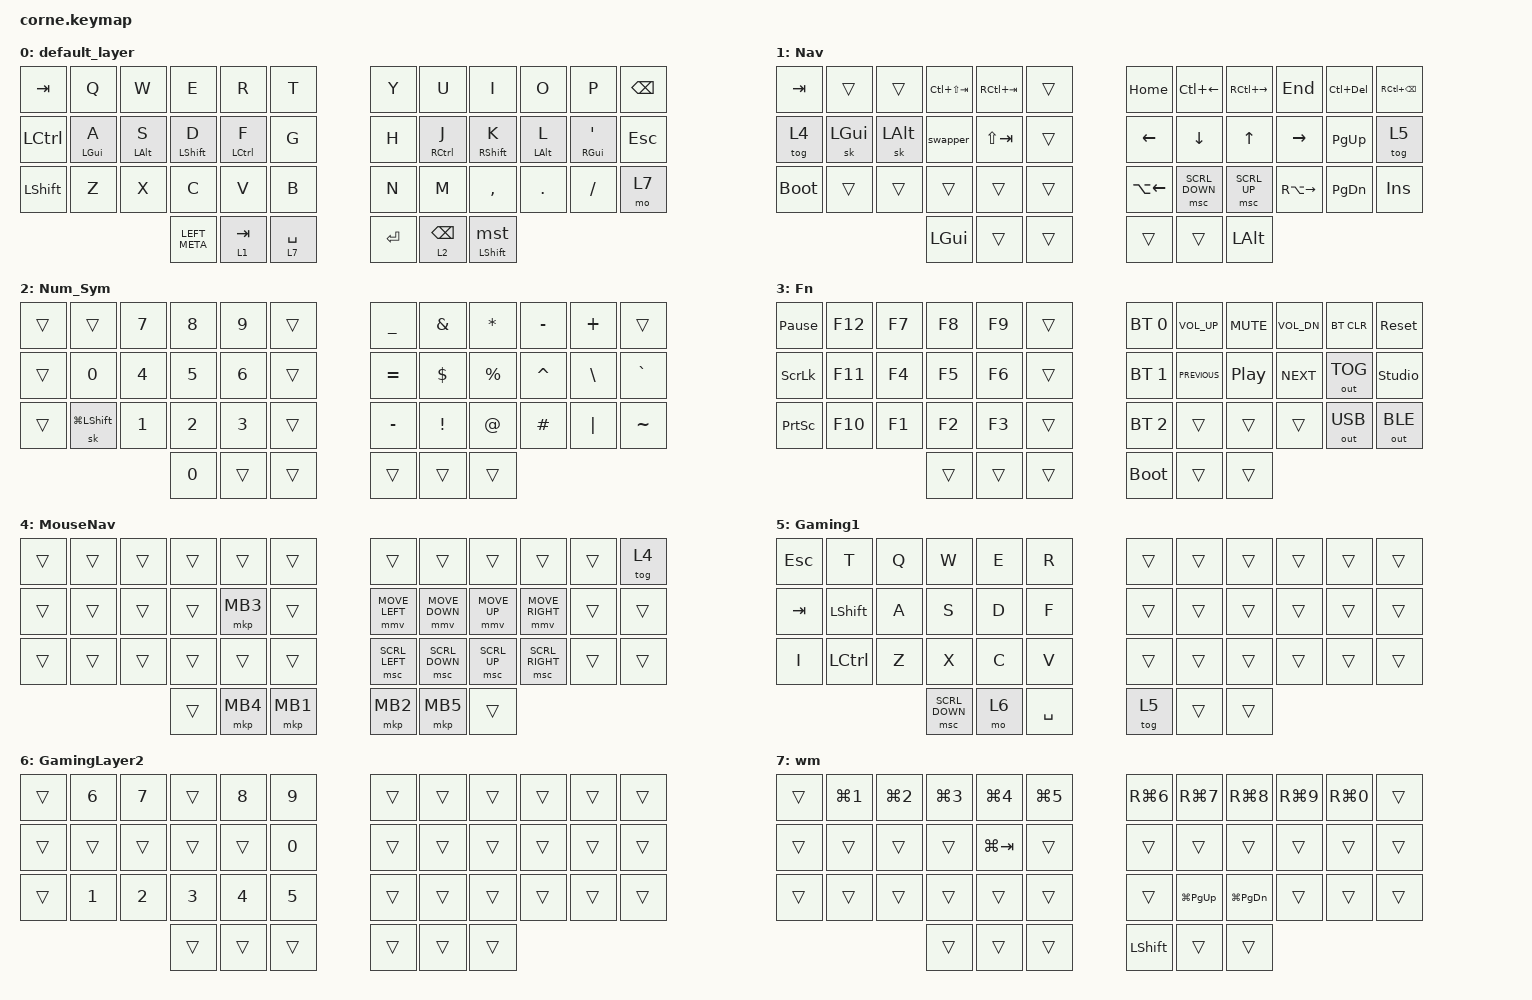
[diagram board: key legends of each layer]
/*
 * Copyright (c) 2020 The ZMK Contributors
 *
 * SPDX-License-Identifier: MIT
 */

#include <behaviors.dtsi>
#include <dt-bindings/zmk/bt.h>
#include <dt-bindings/zmk/keys.h>
#include <dt-bindings/zmk/outputs.h>
#include <dt-bindings/zmk/pointing.h>

&msc { trigger-period-ms = <8>; };

/ {
    combos {
        compatible = "zmk,combos";

        semcol {
            bindings = <&kp SEMI>;
            key-positions = <32 33>;
            timeout-ms = <50>;
            layers = <0>;
        };

        cpslck {
            bindings = <&kp CAPSLOCK>;
            key-positions = <24 35>;
            layers = <0>;
        };

        parentheses_left {
            bindings = <&kp LEFT_PARENTHESIS>;
            key-positions = <16 15>;
            layers = <0>;
        };

        parentheses_right {
            bindings = <&kp RIGHT_PARENTHESIS>;
            key-positions = <19 20>;
            layers = <0>;
        };

        bracket_left {
            bindings = <&kp LEFT_BRACKET>;
            key-positions = <3 4>;
            layers = <0>;
        };

        bracket_right {
            bindings = <&kp RIGHT_BRACKET>;
            key-positions = <8 7>;
            layers = <0>;
        };

        colon {
            bindings = <&kp COLON>;
            key-positions = <20 21>;
            layers = <0>;
        };

        grave {
            bindings = <&kp GRAVE>;
            key-positions = <15 14>;
            layers = <0>;
        };

        brace_left {
            bindings = <&kp LEFT_BRACE>;
            key-positions = <27 28>;
            layers = <0>;
        };

        brace_right {
            bindings = <&kp RIGHT_BRACE>;
            key-positions = <31 32>;
            layers = <0>;
        };

        less_than {
            bindings = <&kp LESS_THAN>;
            key-positions = <2 3>;
            layers = <0>;
        };

        bigger_than {
            bindings = <&kp GREATER_THAN>;
            key-positions = <8 9>;
            layers = <0>;
        };

        hyphen {
            bindings = <&kp MINUS>;
            key-positions = <28 31>;
            layers = <0>;
        };

        plus {
            bindings = <&kp PLUS>;
            key-positions = <4 7>;
            layers = <0>;
        };

        equal {
            bindings = <&kp EQUAL>;
            key-positions = <16 19>;
            layers = <0>;
        };

        Pipe {
            bindings = <&kp PIPE>;
            key-positions = <27 26>;
            layers = <0>;
        };

        astrsk {
            bindings = <&kp ASTERISK>;
            key-positions = <3 8>;
            layers = <0>;
        };

        dollar {
            bindings = <&kp DOLLAR>;
            key-positions = <15 20>;
            layers = <0>;
        };

        excl {
            bindings = <&kp EXCL>;
            key-positions = <27 32>;
            layers = <0>;
        };

        ampersand {
            bindings = <&kp AMPERSAND>;
            key-positions = <17 18>;
            layers = <0>;
        };

        underscore {
            bindings = <&kp UNDERSCORE>;
            key-positions = <29 30>;
            layers = <0>;
        };

        backslash {
            bindings = <&kp BACKSLASH>;
            key-positions = <21 22>;
            layers = <0>;
        };

        tilde {
            bindings = <&kp TILDE>;
            key-positions = <14 13>;
            layers = <0>;
        };
    };

    behaviors {
        mst: magic_shift_tap {
            compatible = "zmk,behavior-mod-morph";
            #binding-cells = <0>;
            bindings = <&sk LSHFT>, <&caps_word>;

            mods = <(MOD_LSFT)>;
        };

        magic_shift: magic_shift {
            compatible = "zmk,behavior-hold-tap";
            #binding-cells = <2>;
            bindings = <&kp>, <&mst>;

            flavor = "balanced";
            tapping-term-ms = <200>;
            quick-tap-ms = <175>;
        };

        hml: hml {
            compatible = "zmk,behavior-hold-tap";
            bindings = <&kp>, <&kp>;

            #binding-cells = <2>;
            tapping-term-ms = <280>;
            quick-tap-ms = <175>;
            flavor = "balanced";
            hold-trigger-on-release;
            hold-trigger-key-positions = <6 7 8 9 10 11 18 19 20 21 22 23 30 31 32 33 34 35 38 39 40 41 37 36>;
            require-prior-idle-ms = <150>;
        };

        hmr: hmr {
            compatible = "zmk,behavior-hold-tap";
            bindings = <&kp>, <&kp>;

            #binding-cells = <2>;
            tapping-term-ms = <280>;
            quick-tap-ms = <175>;
            hold-trigger-on-release;
            hold-trigger-key-positions = <0 1 2 3 4 5 12 13 14 15 16 17 24 25 26 27 28 29 36 37 38 39 40 41>;
            flavor = "balanced";
            require-prior-idle-ms = <150>;
        };

        swapper: swapper {
            compatible = "zmk,behavior-tri-state";
            #binding-cells = <0>;
            bindings = <&kt LALT>, <&kp TAB>, <&kt LALT>;

            ignored-key-positions = <15 16 18 19 20 21>;
        };

        lrt: lrt {
            compatible = "zmk,behavior-hold-tap";
            bindings = <&mo>, <&kp>;

            #binding-cells = <2>;
            tapping-term-ms = <150>;
            flavor = "tap-preferred";
        };
    };

    keymap {
        compatible = "zmk,keymap";

        default_layer {
            // -----------------------------------------------------------------------------------------
            // |  TAB |  Q  |  W  |  E  |  R  |  T  |   |  Y  |  U   |  I  |  O  |  P  | BSPC |
            // | CTRL |  A  |  S  |  D  |  F  |  G  |   |  H  |  J   |  K  |  L  |  ;  |  '   |
            // | SHFT |  Z  |  X  |  C  |  V  |  B  |   |  N  |  M   |  ,  |  .  |  /  | ESC  |
            //                    | GUI | LWR | SPC |   | ENT | RSE  | ALT |

            bindings = <
&kp TAB         &kp Q            &kp W            &kp E          &kp R         &kp T          &kp Y      &kp U            &kp I                      &kp O            &kp P          &kp BSPC
&kp LCTRL       &hml LEFT_GUI A  &hml LEFT_ALT S  &hml LSHFT D   &hml LCTRL F  &kp G          &kp H      &hmr RCTRL J     &hmr RSHFT K               &hmr LEFT_ALT L  &hmr RGUI SQT  &kp ESC
&kp LEFT_SHIFT  &kp Z            &kp X            &kp C          &kp V         &kp B          &kp N      &kp M            &kp COMMA                  &kp DOT          &kp FSLH       &mo 7
                                                  &kp LEFT_META  &lt 1 TAB     &lt 7 SPACE    &kp ENTER  &lt 2 BACKSPACE  &magic_shift LEFT_SHIFT 0
            >;
        };

        Nav {
            // -----------------------------------------------------------------------------------------
            // |  TAB |  1  |  2  |  3  |  4  |  5  |   |  6  |  7  |  8  |  9  |  0  | BSPC |
            // | BTCLR| BT1 | BT2 | BT3 | BT4 | BT5 |   | LFT | DWN |  UP | RGT |     |      |
            // | SHFT |     |     |     |     |     |   |     |     |     |     |     |      |
            //                    | GUI |     | SPC |   | ENT |     | ALT |

            bindings = <
&kp TAB      &trans        &trans        &kp LC(LS(TAB))  &kp RC(TAB)  &trans    &kp HOME            &kp LC(LEFT)    &kp RC(RIGHT)  &kp END              &kp LC(DELETE)  &kp RC(BSPC)
&tog 4       &sk LEFT_GUI  &sk LEFT_ALT  &swapper         &kp LS(TAB)  &trans    &kp LEFT            &kp DOWN        &kp UP         &kp RIGHT            &kp PAGE_UP     &tog 5
&bootloader  &trans        &trans        &trans           &trans       &trans    &kp LA(LEFT_ARROW)  &msc SCRL_DOWN  &msc SCRL_UP   &kp RA(RIGHT_ARROW)  &kp PAGE_DOWN   &kp INSERT
                                         &kp LGUI         &trans       &trans    &trans              &trans          &kp LEFT_ALT
            >;
        };

        Num_Sym {
            bindings = <
&trans  &trans              &kp N7        &kp N8        &kp N9        &trans    &kp UNDERSCORE  &kp AMPS  &kp STAR   &kp MINUS  &kp PLUS       &trans
&trans  &kp N0              &kp NUMBER_4  &kp N5        &kp NUMBER_6  &trans    &kp EQUAL       &kp DLLR  &kp PRCNT  &kp CARET  &kp BACKSLASH  &kp GRAVE
&trans  &sk LG(LEFT_SHIFT)  &kp NUMBER_1  &kp NUMBER_2  &kp NUMBER_3  &trans    &kp MINUS       &kp EXCL  &kp AT     &kp HASH   &kp PIPE       &kp TILDE
                                          &kp N0        &trans        &trans    &trans          &trans    &trans
            >;
        };

        Fn {
            bindings = <
&kp PAUSE_BREAK  &kp F12  &kp F7  &kp F8  &kp F9  &trans    &bt BT_SEL 0  &kp C_VOLUME_UP  &kp C_MUTE        &kp C_VOL_DN  &bt BT_CLR    &sys_reset
&kp SCROLLLOCK   &kp F11  &kp F4  &kp F5  &kp F6  &trans    &bt BT_SEL 1  &kp C_PREVIOUS   &kp C_PLAY_PAUSE  &kp C_NEXT    &out OUT_TOG  &studio_unlock
&kp PSCRN        &kp F10  &kp F1  &kp F2  &kp F3  &trans    &bt BT_SEL 2  &trans           &trans            &trans        &out OUT_USB  &out OUT_BLE
                                  &trans  &trans  &trans    &bootloader   &trans           &trans
            >;
        };

        MouseNav {
            bindings = <
&trans  &trans  &trans  &trans  &trans    &trans      &trans          &trans          &trans        &trans           &trans  &tog 4
&trans  &trans  &trans  &trans  &mkp MB3  &trans      &mmv MOVE_LEFT  &mmv MOVE_DOWN  &mmv MOVE_UP  &mmv MOVE_RIGHT  &trans  &trans
&trans  &trans  &trans  &trans  &trans    &trans      &msc SCRL_LEFT  &msc SCRL_DOWN  &msc SCRL_UP  &msc SCRL_RIGHT  &trans  &trans
                        &trans  &mkp MB4  &mkp MB1    &mkp MB2        &mkp MB5        &trans
            >;
        };

        Gaming1 {
            bindings = <
&kp ESCAPE  &kp T           &kp Q  &kp W           &kp E  &kp R        &trans  &trans  &trans  &trans  &trans  &trans
&kp TAB     &kp LEFT_SHIFT  &kp A  &kp S           &kp D  &kp F        &trans  &trans  &trans  &trans  &trans  &trans
&kp I       &kp LCTRL       &kp Z  &kp X           &kp C  &kp V        &trans  &trans  &trans  &trans  &trans  &trans
                                   &msc SCRL_DOWN  &mo 6  &kp SPACE    &tog 5  &trans  &trans
            >;
        };

        GamingLayer2 {
            bindings = <
&trans  &kp NUMBER_6  &kp N7        &trans        &kp N8        &kp N9    &trans  &trans  &trans  &trans  &trans  &trans
&trans  &trans        &trans        &trans        &trans        &kp N0    &trans  &trans  &trans  &trans  &trans  &trans
&trans  &kp NUMBER_1  &kp NUMBER_2  &kp NUMBER_3  &kp NUMBER_4  &kp N5    &trans  &trans  &trans  &trans  &trans  &trans
                                    &trans        &trans        &trans    &trans  &trans  &trans
            >;
        };

        wm {
            bindings = <
&trans  &kp LG(N1)  &kp LG(N2)  &kp LG(N3)  &kp LG(N4)   &kp LG(N5)    &kp RG(N6)      &kp RG(N7)       &kp RG(N8)         &kp RG(N9)  &kp RG(N0)  &trans
&trans  &trans      &trans      &trans      &kp LG(TAB)  &trans        &trans          &trans           &trans             &trans      &trans      &trans
&trans  &trans      &trans      &trans      &trans       &trans        &trans          &kp LG(PAGE_UP)  &kp LG(PAGE_DOWN)  &trans      &trans      &trans
                                &trans      &trans       &trans        &kp LEFT_SHIFT  &trans           &trans
            >;
        };
    };

    conditional_layers {
        compatible = "zmk,conditional-layers";

        func_layer {
            if-layers = <1 2>;
            then-layer = <3>;
        };
    };
};

